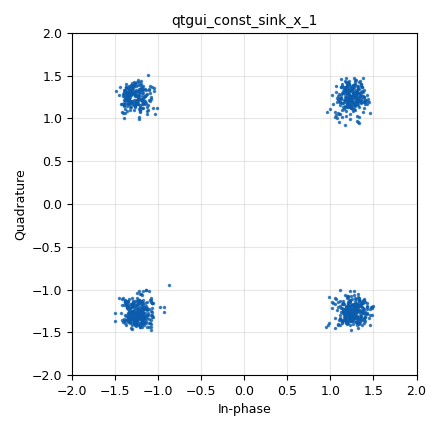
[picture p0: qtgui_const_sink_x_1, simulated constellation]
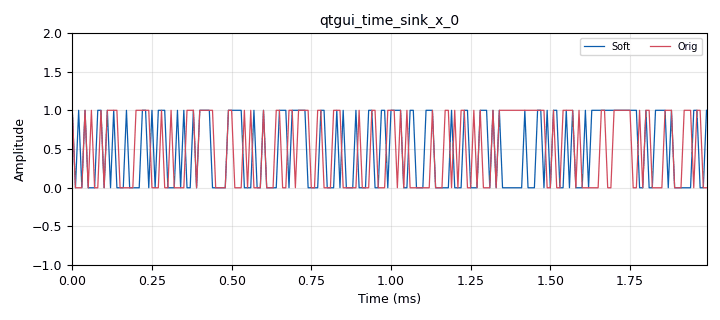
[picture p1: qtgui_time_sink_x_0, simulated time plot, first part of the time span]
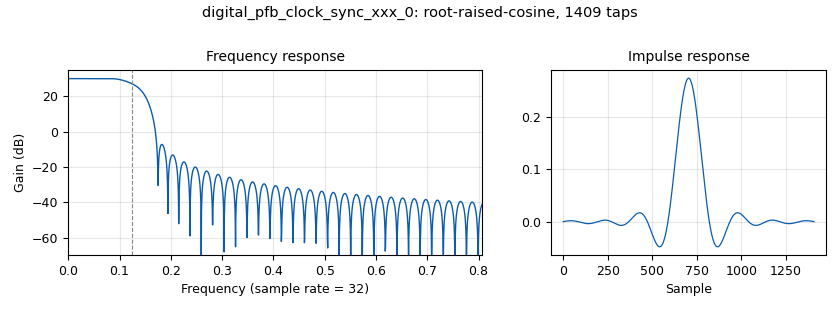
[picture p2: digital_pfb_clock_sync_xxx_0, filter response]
options:
  parameters:
    generate_options: qt_gui
    id: top_block
    output_language: python
    title: top_block
  states: {}

blocks:
- name: arity
  id: variable
  parameters:
    value: '4'
  states: {}
- name: constel
  id: variable_constellation
  parameters:
    const_points: digital.psk_4()[0]
    precision: '8'
    soft_dec_lut: '''auto'''
    sym_map: digital.psk_4()[1]
    type: qpsk
  states: {}
- name: constel_intf
  id: variable_constellation
  parameters:
    const_points: digital.psk_4()[0]
    precision: '8'
    soft_dec_lut: '''auto'''
    sym_map: digital.psk_4()[1]
    type: 16qam
  states: {}
- name: delay
  id: variable_qtgui_chooser
  parameters:
    gui_hint: 0,1,1,1
    label: Delay
    label0: BPSK
    label1: QPSK
    label2: QAM16
    num_opts: '3'
    option1: '58'
    option2: '116'
    type: int
    value: '29'
  states: {}
- name: intf_voltage
  id: variable_qtgui_range
  parameters:
    gui_hint: 2,0,1,1
    label: Interferer Voltage
    orient: Qt.Horizontal
    start: '0'
    step: '0.01'
    stop: '1'
    value: '0.1'
  states: {}
- name: nfilts
  id: variable
  parameters:
    value: '32'
  states: {}
- name: noise_volt
  id: variable_qtgui_range
  parameters:
    gui_hint: 0,0,1,1
    label: 'Channel: Noise Voltage'
    orient: Qt.Horizontal
    start: '0'
    step: '0.01'
    stop: '1'
    value: '0.1'
  states: {}
- name: phase
  id: variable_qtgui_range
  parameters:
    gui_hint: 4,0,1,1
    label: Interferer Phase
    orient: Qt.Horizontal
    start: '-180'
    step: '1'
    stop: '180'
    value: '0.0'
  states: {}
- name: rrc_taps
  id: variable
  parameters:
    value: firdes.root_raised_cosine(nfilts, nfilts, 1.0/float(sps), 0.35, 11*sps*nfilts)
  states: {}
- name: samp_rate
  id: variable
  parameters:
    value: '100000'
  states: {}
- name: soi_voltage
  id: variable_qtgui_range
  parameters:
    gui_hint: 1,0,1,1
    label: Source Signal Voltage
    orient: Qt.Horizontal
    start: '0'
    step: '0.01'
    stop: '1'
    value: '0.9'
  states: {}
- name: sps
  id: variable
  parameters:
    value: '4'
  states: {}
- name: analog_random_source_x_0
  id: analog_random_source_x
  parameters:
    max: '256'
    min: '0'
    num_samps: '200'
    repeat: 'True'
    type: byte
  states: {}
- name: analog_random_source_x_0_0
  id: analog_random_source_x
  parameters:
    max: '256'
    min: '0'
    num_samps: '200'
    repeat: 'True'
    type: byte
  states: {}
- name: blocks_add_xx_0
  id: blocks_add_xx
  parameters:
    type: complex
  states: {}
- name: blocks_char_to_float_0_0
  id: blocks_char_to_float
  parameters:
    scale: '1'
  states: {}
- name: blocks_char_to_float_0_0_0
  id: blocks_char_to_float
  parameters:
    scale: '1'
  states: {}
- name: blocks_delay_0
  id: blocks_delay
  parameters:
    delay: int(delay)
    type: byte
  states: {}
- name: blocks_multiply_const_vxx_0
  id: blocks_multiply_const_vxx
  parameters:
    const: intf_voltage * cmath.exp(-1j*phase*math.pi/180.0)
    type: complex
  states: {}
- name: blocks_multiply_const_vxx_0_0
  id: blocks_multiply_const_vxx
  parameters:
    const: soi_voltage
    type: complex
  states: {}
- name: blocks_throttle_0
  id: blocks_throttle
  parameters:
    samples_per_second: samp_rate
    type: byte
  states: {}
- name: blocks_throttle_0_0
  id: blocks_throttle
  parameters:
    samples_per_second: samp_rate
    type: byte
  states: {}
- name: blocks_unpack_k_bits_bb_0_0
  id: blocks_unpack_k_bits_bb
  parameters:
    k: '8'
  states: {}
- name: channels_channel_model_0
  id: channels_channel_model
  parameters:
    epsilon: '1.0'
    freq_offset: '0.0'
    noise_voltage: noise_volt
    seed: '0'
    taps: '1.0'
  states: {}
- name: digital_binary_slicer_fb_0
  id: digital_binary_slicer_fb
  parameters: {}
  states: {}
- name: digital_constellation_modulator_0
  id: digital_constellation_modulator
  parameters:
    constellation: constel
    differential: 'False'
    excess_bw: '0.35'
    samples_per_symbol: sps
  states: {}
- name: digital_constellation_modulator_0_0
  id: digital_constellation_modulator
  parameters:
    constellation: constel_intf
    differential: 'False'
    excess_bw: '0.35'
    samples_per_symbol: sps
  states: {}
- name: digital_constellation_soft_decoder_cf_0
  id: digital_constellation_soft_decoder_cf
  parameters:
    constellation: constel
  states: {}
- name: digital_pfb_clock_sync_xxx_0
  id: digital_pfb_clock_sync_xxx
  parameters:
    filter_size: nfilts
    init_phase: nfilts/2
    loop_bw: 6.28/100.0
    max_dev: '1.5'
    osps: '1'
    sps: sps
    taps: rrc_taps
    type: ccf
  states: {}
- name: import_cmath
  id: import
  parameters:
    imports: import cmath
  states: {}
- name: import_math
  id: import
  parameters:
    imports: import math
  states: {}
- name: note_auto
  id: note
  parameters:
    note: auto-build LUT
  states: {}
- name: note_py
  id: note
  parameters:
    note: Python-generated LUT
  states: {}
- name: qtgui_const_sink_x_1
  id: qtgui_const_sink_x
  parameters:
    gui_hint: 3,0,1,1
    name: ''
    size: '1024'
    type: complex
  states: {}
- name: qtgui_time_sink_x_0
  id: qtgui_time_sink_x
  parameters:
    gui_hint: 3,1,1,1
    label1: Soft
    label2: Orig
    name: ''
    nconnections: '2'
    size: '500'
    srate: samp_rate
    type: float
    update_time: '0.05'
    ymax: '2'
  states: {}

connections:
- [analog_random_source_x_0, '0', blocks_throttle_0, '0']
- [analog_random_source_x_0_0, '0', blocks_throttle_0_0, '0']
- [blocks_add_xx_0, '0', channels_channel_model_0, '0']
- [blocks_char_to_float_0_0, '0', qtgui_time_sink_x_0, '0']
- [blocks_char_to_float_0_0_0, '0', qtgui_time_sink_x_0, '1']
- [blocks_delay_0, '0', blocks_char_to_float_0_0_0, '0']
- [blocks_multiply_const_vxx_0, '0', blocks_add_xx_0, '1']
- [blocks_multiply_const_vxx_0_0, '0', blocks_add_xx_0, '0']
- [blocks_throttle_0, '0', blocks_unpack_k_bits_bb_0_0, '0']
- [blocks_throttle_0, '0', digital_constellation_modulator_0, '0']
- [blocks_throttle_0_0, '0', digital_constellation_modulator_0_0, '0']
- [blocks_unpack_k_bits_bb_0_0, '0', blocks_delay_0, '0']
- [channels_channel_model_0, '0', digital_pfb_clock_sync_xxx_0, '0']
- [digital_binary_slicer_fb_0, '0', blocks_char_to_float_0_0, '0']
- [digital_constellation_modulator_0, '0', blocks_multiply_const_vxx_0_0, '0']
- [digital_constellation_modulator_0_0, '0', blocks_multiply_const_vxx_0, '0']
- [digital_constellation_soft_decoder_cf_0, '0', digital_binary_slicer_fb_0, '0']
- [digital_pfb_clock_sync_xxx_0, '0', digital_constellation_soft_decoder_cf_0, '0']
- [digital_pfb_clock_sync_xxx_0, '0', qtgui_const_sink_x_1, '0']

metadata:
  file_format: 1
